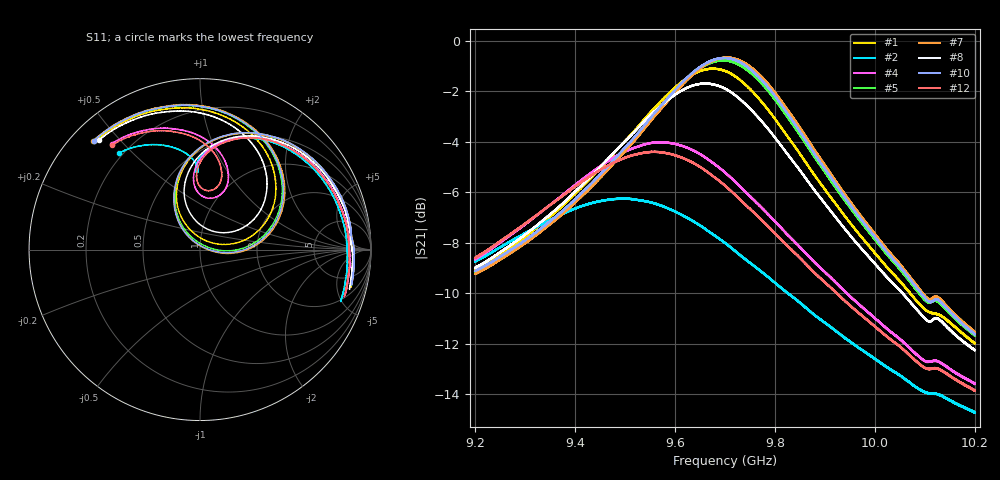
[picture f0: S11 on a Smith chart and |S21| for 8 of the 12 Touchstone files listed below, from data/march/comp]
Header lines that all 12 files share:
!Agilent Technologies,N5242A,MY51221714,A.09.90.19
!Agilent N5242A: A.09.90.19
!Correction: S11(Full 2 Port(1,2))
!S21(Full 2 Port(1,2))
!S12(Full 2 Port(1,2))
!S22(Full 2 Port(1,2))
!S2P File: Measurements: S11, S21, S12, S22:
# Hz S  dB  R 50
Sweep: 9.2 GHz to 10.2 GHz
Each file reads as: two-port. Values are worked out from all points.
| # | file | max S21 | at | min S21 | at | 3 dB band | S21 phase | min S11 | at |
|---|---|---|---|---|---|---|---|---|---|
| 1 | c3_1.s2p | -1.09 dB | 9.68 GHz | -12.0 dB | 10.2 GHz | 9.495 GHz-9.836 GHz | -123 deg at 9.7 GHz | -24.3 dB | 9.677 GHz |
| 2 | c3_2.s2p | -6.23 dB | 9.5 GHz | -14.7 dB | 10.2 GHz | 9.2 GHz-9.778 GHz | -149 deg at 9.7 GHz | -6.9 dB | 9.513 GHz |
| 3 | c4_1.s2p | -0.83 dB | 9.69 GHz | -11.8 dB | 10.2 GHz | 9.512 GHz-9.844 GHz | -119 deg at 9.7 GHz | -28.1 dB | 9.689 GHz |
| 4 | c4_2.s2p | -4.00 dB | 9.571 GHz | -13.6 dB | 10.2 GHz | 9.318 GHz-9.793 GHz | -144 deg at 9.7 GHz | -10.3 dB | 9.581 GHz |
| 5 | c5_1.s2p | -0.77 dB | 9.696 GHz | -11.7 dB | 10.2 GHz | 9.522 GHz-9.851 GHz | -116 deg at 9.7 GHz | -30.0 dB | 9.698 GHz |
| 6 | c5_2.s2p | -2.12 dB | 9.653 GHz | -12.5 dB | 10.2 GHz | 9.443 GHz-9.827 GHz | -130 deg at 9.7 GHz | -15.4 dB | 9.654 GHz |
| 7 | c6_1.s2p | -0.65 dB | 9.702 GHz | -11.6 dB | 10.2 GHz | 9.532 GHz-9.857 GHz | -113 deg at 9.7 GHz | -34.6 dB | 9.705 GHz |
| 8 | c6_2.s2p | -1.69 dB | 9.658 GHz | -12.3 dB | 10.2 GHz | 9.466 GHz-9.833 GHz | -127 deg at 9.7 GHz | -18.0 dB | 9.665 GHz |
| 9 | c7_1.s2p | -0.50 dB | 9.711 GHz | -11.5 dB | 10.2 GHz | 9.539 GHz-9.859 GHz | -112 deg at 9.7 GHz | -52.6 dB | 9.71 GHz |
| 10 | c7_2.s2p | -0.67 dB | 9.697 GHz | -11.6 dB | 10.2 GHz | 9.526 GHz-9.852 GHz | -115 deg at 9.7 GHz | -33.4 dB | 9.701 GHz |
| 11 | c8_1.s2p | -0.89 dB | 9.687 GHz | -11.8 dB | 10.2 GHz | 9.512 GHz-9.846 GHz | -119 deg at 9.7 GHz | -28.0 dB | 9.69 GHz |
| 12 | c8_2.s2p | -4.39 dB | 9.559 GHz | -13.9 dB | 10.2 GHz | 9.291 GHz-9.788 GHz | -145 deg at 9.7 GHz | -9.2 dB | 9.57 GHz |
